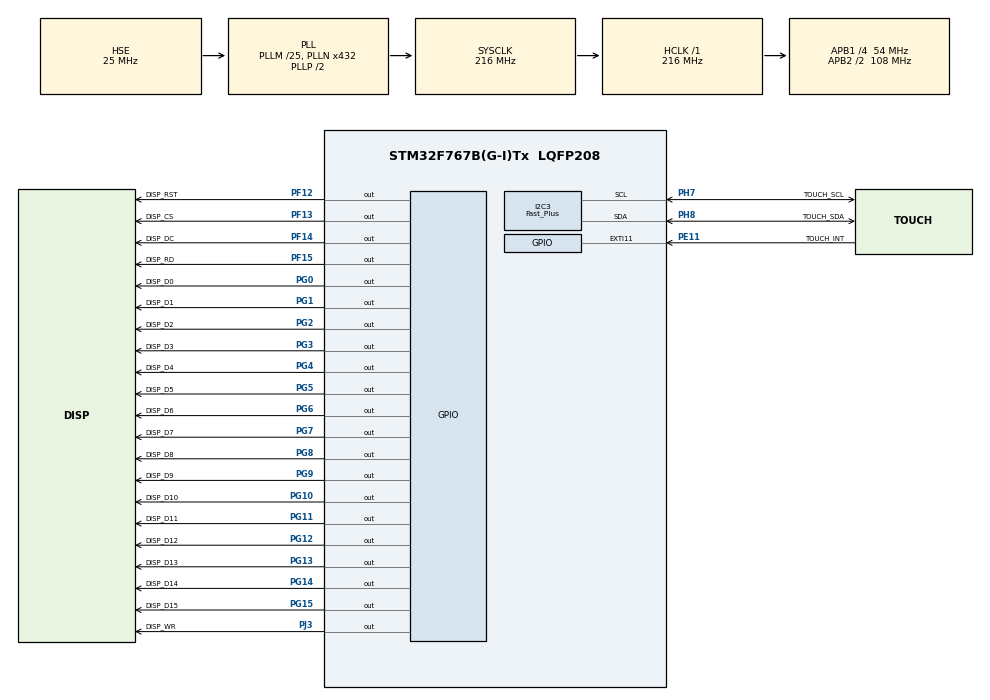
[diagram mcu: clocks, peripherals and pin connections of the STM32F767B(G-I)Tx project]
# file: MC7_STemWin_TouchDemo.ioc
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CORTEX_M7.ART_ACCLERATOR_ENABLE=0
CORTEX_M7.CPU_DCache=Enabled
CORTEX_M7.CPU_ICache=Enabled
CORTEX_M7.FlashInterface=AXI_Enabled
CORTEX_M7.PREFETCH_ENABLE=1
I2C3.DualAddressMode=I2C_DUALADDRESS_DISABLE
I2C3.I2C_Speed_Mode=I2C_Fast_Plus
I2C3.Timing=0x00200922
Mcu.Family=STM32F7
Mcu.Name=STM32F767B(G-I)Tx
Mcu.Package=LQFP208
NVIC.EXTI15_10_IRQn=true\:1\:0\:true\:false\:true\:true\:true
NVIC.PriorityGroup=NVIC_PRIORITYGROUP_4
PE11.GPIO_Label=TOUCH_INT
PE11.GPIO_ModeDefaultEXTI=GPIO_MODE_IT_FALLING
PE11.Signal=GPXTI11
PF12.GPIO_Label=DISP_RST
PF12.GPIO_Speed=GPIO_SPEED_FREQ_VERY_HIGH
PF12.Signal=GPIO_Output
PF13.GPIO_Label=DISP_CS
PF13.GPIO_Speed=GPIO_SPEED_FREQ_VERY_HIGH
PF13.Signal=GPIO_Output
PF14.GPIO_Label=DISP_DC
PF14.GPIO_Speed=GPIO_SPEED_FREQ_VERY_HIGH
PF14.Signal=GPIO_Output
PF15.GPIO_Label=DISP_RD
PF15.GPIO_Speed=GPIO_SPEED_FREQ_VERY_HIGH
PF15.Signal=GPIO_Output
PG0.GPIO_Label=DISP_D0
PG0.GPIO_Speed=GPIO_SPEED_FREQ_VERY_HIGH
PG0.Signal=GPIO_Output
PG1.GPIO_Label=DISP_D1
PG1.GPIO_Speed=GPIO_SPEED_FREQ_VERY_HIGH
PG1.Signal=GPIO_Output
PG10.GPIO_Label=DISP_D10
PG10.GPIO_Speed=GPIO_SPEED_FREQ_VERY_HIGH
PG10.Signal=GPIO_Output
PG11.GPIO_Label=DISP_D11
PG11.GPIO_Speed=GPIO_SPEED_FREQ_VERY_HIGH
PG11.Signal=GPIO_Output
PG12.GPIO_Label=DISP_D12
PG12.GPIO_Speed=GPIO_SPEED_FREQ_VERY_HIGH
PG12.Signal=GPIO_Output
PG13.GPIO_Label=DISP_D13
PG13.GPIO_Speed=GPIO_SPEED_FREQ_VERY_HIGH
PG13.Signal=GPIO_Output
PG14.GPIO_Label=DISP_D14
PG14.GPIO_Speed=GPIO_SPEED_FREQ_VERY_HIGH
PG14.Signal=GPIO_Output
PG15.GPIO_Label=DISP_D15
PG15.GPIO_Speed=GPIO_SPEED_FREQ_VERY_HIGH
PG15.Signal=GPIO_Output
PG2.GPIO_Label=DISP_D2
PG2.GPIO_Speed=GPIO_SPEED_FREQ_VERY_HIGH
PG2.Signal=GPIO_Output
PG3.GPIO_Label=DISP_D3
PG3.GPIO_Speed=GPIO_SPEED_FREQ_VERY_HIGH
PG3.Signal=GPIO_Output
PG4.GPIO_Label=DISP_D4
PG4.GPIO_Speed=GPIO_SPEED_FREQ_VERY_HIGH
PG4.Signal=GPIO_Output
PG5.GPIO_Label=DISP_D5
PG5.GPIO_Speed=GPIO_SPEED_FREQ_VERY_HIGH
PG5.Signal=GPIO_Output
PG6.GPIO_Label=DISP_D6
PG6.GPIO_Speed=GPIO_SPEED_FREQ_VERY_HIGH
PG6.Signal=GPIO_Output
PG7.GPIO_Label=DISP_D7
PG7.GPIO_Speed=GPIO_SPEED_FREQ_VERY_HIGH
PG7.Signal=GPIO_Output
PG8.GPIO_Label=DISP_D8
PG8.GPIO_Speed=GPIO_SPEED_FREQ_VERY_HIGH
PG8.Signal=GPIO_Output
PG9.GPIO_Label=DISP_D9
PG9.GPIO_Speed=GPIO_SPEED_FREQ_VERY_HIGH
PG9.Signal=GPIO_Output
PH0/OSC_IN.Mode=HSE-External-Oscillator
PH0/OSC_IN.Signal=RCC_OSC_IN
PH1/OSC_OUT.Mode=HSE-External-Oscillator
PH1/OSC_OUT.Signal=RCC_OSC_OUT
PH7.GPIO_Label=TOUCH_SCL
PH7.Mode=I2C
PH7.Signal=I2C3_SCL
PH8.GPIO_Label=TOUCH_SDA
PH8.Mode=I2C
PH8.Signal=I2C3_SDA
PJ3.GPIO_Label=DISP_WR
PJ3.GPIO_Speed=GPIO_SPEED_FREQ_VERY_HIGH
PJ3.Signal=GPIO_Output
ProjectManager.HeapSize=0x200
ProjectManager.StackSize=0x400
ProjectManager.TargetToolchain=STM32CubeIDE
RCC.AHBFreq_Value=216000000
RCC.APB1CLKDivider=RCC_HCLK_DIV4
RCC.APB1Freq_Value=54000000
RCC.APB1TimFreq_Value=108000000
RCC.APB2CLKDivider=RCC_HCLK_DIV2
RCC.APB2Freq_Value=108000000
RCC.APB2TimFreq_Value=216000000
RCC.CortexFreq_Value=216000000
RCC.HCLKFreq_Value=216000000
RCC.HSE_Timout=100
RCC.HSE_VALUE=25000000
RCC.HSI_VALUE=16000000
RCC.LSE_VALUE=32768
RCC.PLLM=25
RCC.PLLN=432
RCC.PLLSourceVirtual=RCC_PLLSOURCE_HSE
RCC.SYSCLKFreq_VALUE=216000000
RCC.SYSCLKSource=RCC_SYSCLKSOURCE_PLLCLK
RCC.USBFreq_Value=216000000
RCC.VCOOutputFreq_Value=432000000
VP_CRC_VS_CRC.Mode=CRC_Activate
board=custom

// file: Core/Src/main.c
/* USER CODE BEGIN Header */
/**
  ******************************************************************************
  * @file           : main.c
  * @brief          : Main program body
  ******************************************************************************
  * @attention
  *
  * <h2><center>&copy; Copyright (c) 2020 STMicroelectronics.
  * All rights reserved.</center></h2>
  *
  * This software component is licensed by ST under BSD 3-Clause license,
  * the "License"; You may not use this file except in compliance with the
  * License. You may obtain a copy of the License at:
  *                        opensource.org/licenses/BSD-3-Clause
  *
  ******************************************************************************
  */
/* USER CODE END Header */

#include "main.h"

/* USER CODE BEGIN Includes */
#include "SSD1963.h"
#include "FT5XX6.h"
#include "TouchExec.h"
#include "GUI.h"
#include "DIALOG.h"
#include "MenuDLG.h"
#include "MTouchDLG.h"
/* USER CODE END Includes */

CRC_HandleTypeDef hcrc;

I2C_HandleTypeDef hi2c3;

/* USER CODE BEGIN PV */
WM_HWIN hwin;
/* USER CODE END PV */

void SystemClock_Config(void);
static void MX_GPIO_Init(void);
static void MX_I2C3_Init(void);
static void MX_CRC_Init(void);

int main(void)
{

  /* Enable I-Cache---------------------------------------------------------*/
  SCB_EnableICache();

  /* Enable D-Cache---------------------------------------------------------*/
  SCB_EnableDCache();

  /* MCU Configuration--------------------------------------------------------*/

  /* Reset of all peripherals, Initializes the Flash interface and the Systick. */
  HAL_Init();

  /* Configure the system clock */
  SystemClock_Config();

  /* USER CODE BEGIN SysInit */
  HAL_Delay(200);
  /* USER CODE END SysInit */

  /* Initialize all configured peripherals */
  MX_GPIO_Init();
  MX_I2C3_Init();
  MX_CRC_Init();
  /* USER CODE BEGIN 2 */

  HAL_Delay(200);
  SSD1963_Init();			//Display
  FT5XX6_Init(hi2c3);		//Touch
  HAL_Delay(200);

  GUI_Init();
  GUI_Delay(100);

  GUI_MTOUCH_Enable(1); //not needed if STOUCH_Exec()is used
  WM_GESTURE_Enable(1); //not needed if STOUCH_Exec()is used

  /* USER CODE END 2 */

  /* Infinite loop */
  /* USER CODE BEGIN WHILE */

  WM_SetCreateFlags(WM_CF_GESTURE|WM_CF_MEMDEV); //enable memory devices and gesture
  menu_state=MAIN_MENU;
  hMenu=CreateMenu();

  while (1)
  {

		if(menu_state==MTOUCH_DEMO)
			MTOUCH_Exec();
		else
			STOUCH_Exec();
		GUI_Exec();
		GUI_Delay(50);
    /* USER CODE END WHILE */

  }
}

void SystemClock_Config(void)
{
  RCC_OscInitTypeDef RCC_OscInitStruct = {0};
  RCC_ClkInitTypeDef RCC_ClkInitStruct = {0};
  RCC_PeriphCLKInitTypeDef PeriphClkInitStruct = {0};

  /** Configure the main internal regulator output voltage
  */
  __HAL_RCC_PWR_CLK_ENABLE();
  __HAL_PWR_VOLTAGESCALING_CONFIG(PWR_REGULATOR_VOLTAGE_SCALE1);
  /** Initializes the CPU, AHB and APB busses clocks
  */
  RCC_OscInitStruct.OscillatorType = RCC_OSCILLATORTYPE_HSE;
  RCC_OscInitStruct.HSEState = RCC_HSE_ON;
  RCC_OscInitStruct.PLL.PLLState = RCC_PLL_ON;
  RCC_OscInitStruct.PLL.PLLSource = RCC_PLLSOURCE_HSE;
  RCC_OscInitStruct.PLL.PLLM = 25;
  RCC_OscInitStruct.PLL.PLLN = 432;
  RCC_OscInitStruct.PLL.PLLP = RCC_PLLP_DIV2;
  RCC_OscInitStruct.PLL.PLLQ = 2;
  if (HAL_RCC_OscConfig(&RCC_OscInitStruct) != HAL_OK)
  {
    Error_Handler();
  }
  /** Activate the Over-Drive mode
  */
  if (HAL_PWREx_EnableOverDrive() != HAL_OK)
  {
    Error_Handler();
  }
  /** Initializes the CPU, AHB and APB busses clocks
  */
  RCC_ClkInitStruct.ClockType = RCC_CLOCKTYPE_HCLK|RCC_CLOCKTYPE_SYSCLK
                              |RCC_CLOCKTYPE_PCLK1|RCC_CLOCKTYPE_PCLK2;
  RCC_ClkInitStruct.SYSCLKSource = RCC_SYSCLKSOURCE_PLLCLK;
  RCC_ClkInitStruct.AHBCLKDivider = RCC_SYSCLK_DIV1;
  RCC_ClkInitStruct.APB1CLKDivider = RCC_HCLK_DIV4;
  RCC_ClkInitStruct.APB2CLKDivider = RCC_HCLK_DIV2;

  if (HAL_RCC_ClockConfig(&RCC_ClkInitStruct, FLASH_LATENCY_7) != HAL_OK)
  {
    Error_Handler();
  }
  PeriphClkInitStruct.PeriphClockSelection = RCC_PERIPHCLK_I2C3;
  PeriphClkInitStruct.I2c3ClockSelection = RCC_I2C3CLKSOURCE_PCLK1;
  if (HAL_RCCEx_PeriphCLKConfig(&PeriphClkInitStruct) != HAL_OK)
  {
    Error_Handler();
  }
}

static void MX_CRC_Init(void)
{

  hcrc.Instance = CRC;
  hcrc.Init.DefaultPolynomialUse = DEFAULT_POLYNOMIAL_ENABLE;
  hcrc.Init.DefaultInitValueUse = DEFAULT_INIT_VALUE_ENABLE;
  hcrc.Init.InputDataInversionMode = CRC_INPUTDATA_INVERSION_NONE;
  hcrc.Init.OutputDataInversionMode = CRC_OUTPUTDATA_INVERSION_DISABLE;
  hcrc.InputDataFormat = CRC_INPUTDATA_FORMAT_BYTES;
  if (HAL_CRC_Init(&hcrc) != HAL_OK)
  {
    Error_Handler();
  }

}

static void MX_I2C3_Init(void)
{

  hi2c3.Instance = I2C3;
  hi2c3.Init.Timing = 0x00200922;
  hi2c3.Init.OwnAddress1 = 0;
  hi2c3.Init.AddressingMode = I2C_ADDRESSINGMODE_7BIT;
  hi2c3.Init.DualAddressMode = I2C_DUALADDRESS_DISABLE;
  hi2c3.Init.OwnAddress2 = 0;
  hi2c3.Init.OwnAddress2Masks = I2C_OA2_NOMASK;
  hi2c3.Init.GeneralCallMode = I2C_GENERALCALL_DISABLE;
  hi2c3.Init.NoStretchMode = I2C_NOSTRETCH_DISABLE;
  if (HAL_I2C_Init(&hi2c3) != HAL_OK)
  {
    Error_Handler();
  }
  /** Configure Analogue filter
  */
  if (HAL_I2CEx_ConfigAnalogFilter(&hi2c3, I2C_ANALOGFILTER_ENABLE) != HAL_OK)
  {
    Error_Handler();
  }
  /** Configure Digital filter
  */
  if (HAL_I2CEx_ConfigDigitalFilter(&hi2c3, 0) != HAL_OK)
  {
    Error_Handler();
  }
  /** I2C Enable Fast Mode Plus
  */
  HAL_I2CEx_EnableFastModePlus(I2C_FASTMODEPLUS_I2C3);

}

static void MX_GPIO_Init(void)
{
  GPIO_InitTypeDef GPIO_InitStruct = {0};

  /* GPIO Ports Clock Enable */
  __HAL_RCC_GPIOH_CLK_ENABLE();
  __HAL_RCC_GPIOJ_CLK_ENABLE();
  __HAL_RCC_GPIOF_CLK_ENABLE();
  __HAL_RCC_GPIOG_CLK_ENABLE();
  __HAL_RCC_GPIOE_CLK_ENABLE();

  /*Configure GPIO pin Output Level */
  HAL_GPIO_WritePin(DISP_WR_GPIO_Port, DISP_WR_Pin, GPIO_PIN_RESET);

  /*Configure GPIO pin Output Level */
  HAL_GPIO_WritePin(GPIOF, DISP_RST_Pin|DISP_CS_Pin|DISP_DC_Pin|DISP_RD_Pin, GPIO_PIN_RESET);

  /*Configure GPIO pin Output Level */
  HAL_GPIO_WritePin(GPIOG, DISP_D0_Pin|DISP_D1_Pin|DISP_D2_Pin|DISP_D3_Pin
                          |DISP_D4_Pin|DISP_D5_Pin|DISP_D6_Pin|DISP_D7_Pin
                          |DISP_D8_Pin|DISP_D9_Pin|DISP_D10_Pin|DISP_D11_Pin
                          |DISP_D12_Pin|DISP_D13_Pin|DISP_D14_Pin|DISP_D15_Pin, GPIO_PIN_RESET);

  /*Configure GPIO pin : DISP_WR_Pin */
  GPIO_InitStruct.Pin = DISP_WR_Pin;
  GPIO_InitStruct.Mode = GPIO_MODE_OUTPUT_PP;
  GPIO_InitStruct.Pull = GPIO_NOPULL;
  GPIO_InitStruct.Speed = GPIO_SPEED_FREQ_VERY_HIGH;
  HAL_GPIO_Init(DISP_WR_GPIO_Port, &GPIO_InitStruct);

  /*Configure GPIO pins : DISP_RST_Pin DISP_CS_Pin DISP_DC_Pin DISP_RD_Pin */
  GPIO_InitStruct.Pin = DISP_RST_Pin|DISP_CS_Pin|DISP_DC_Pin|DISP_RD_Pin;
  GPIO_InitStruct.Mode = GPIO_MODE_OUTPUT_PP;
  GPIO_InitStruct.Pull = GPIO_NOPULL;
  GPIO_InitStruct.Speed = GPIO_SPEED_FREQ_VERY_HIGH;
  HAL_GPIO_Init(GPIOF, &GPIO_InitStruct);

  /*Configure GPIO pins : DISP_D0_Pin DISP_D1_Pin DISP_D2_Pin DISP_D3_Pin
                           DISP_D4_Pin DISP_D5_Pin DISP_D6_Pin DISP_D7_Pin
                           DISP_D8_Pin DISP_D9_Pin DISP_D10_Pin DISP_D11_Pin
                           DISP_D12_Pin DISP_D13_Pin DISP_D14_Pin DISP_D15_Pin */
  GPIO_InitStruct.Pin = DISP_D0_Pin|DISP_D1_Pin|DISP_D2_Pin|DISP_D3_Pin
                          |DISP_D4_Pin|DISP_D5_Pin|DISP_D6_Pin|DISP_D7_Pin
                          |DISP_D8_Pin|DISP_D9_Pin|DISP_D10_Pin|DISP_D11_Pin
                          |DISP_D12_Pin|DISP_D13_Pin|DISP_D14_Pin|DISP_D15_Pin;
  GPIO_InitStruct.Mode = GPIO_MODE_OUTPUT_PP;
  GPIO_InitStruct.Pull = GPIO_NOPULL;
  GPIO_InitStruct.Speed = GPIO_SPEED_FREQ_VERY_HIGH;
  HAL_GPIO_Init(GPIOG, &GPIO_InitStruct);

  /*Configure GPIO pin : TOUCH_INT_Pin */
  GPIO_InitStruct.Pin = TOUCH_INT_Pin;
  GPIO_InitStruct.Mode = GPIO_MODE_IT_FALLING;
  GPIO_InitStruct.Pull = GPIO_NOPULL;
  HAL_GPIO_Init(TOUCH_INT_GPIO_Port, &GPIO_InitStruct);

  /* EXTI interrupt init*/
  HAL_NVIC_SetPriority(EXTI15_10_IRQn, 1, 0);
  HAL_NVIC_EnableIRQ(EXTI15_10_IRQn);

}

/* USER CODE BEGIN 4 */
/*void HAL_GPIO_EXTI_Callback(uint16_t GPIO_Pin)
{
	if(GPIO_Pin==TOUCH_INT_Pin)
	{
		//not used
	}
}*/
/* USER CODE END 4 */

void Error_Handler(void)
{
}

/************************ (C) COPYRIGHT STMicroelectronics *****END OF FILE****/
